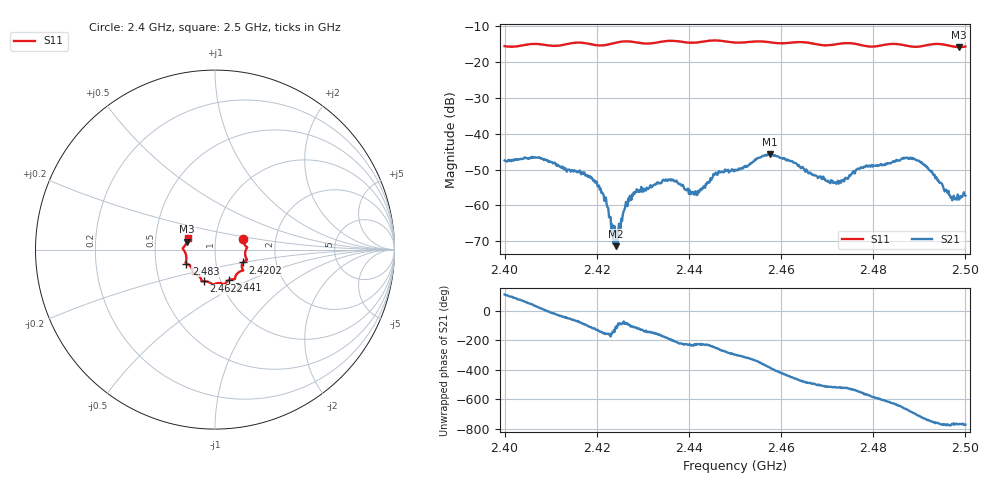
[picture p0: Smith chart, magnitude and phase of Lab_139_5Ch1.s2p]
# Hz S RI R 50
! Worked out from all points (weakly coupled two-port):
!   601 points, 2.4 GHz to 2.5 GHz, reference 50 ohm
!   highest |S21| = -45.69 dB at 2.4575 GHz (marker M1); lowest = -71.4 dB at 2.4242 GHz (marker M2)
!   lowest |S11| = -15.8 dB at 2.4987 GHz (marker M3), VSWR 1.39, Z = 36.4 + j3.28 ohm
!   |S11| at or under -10 dB: start of sweep to end of sweep
!   S12 and S22 are empty: the file has one direction only
!   S11 on the Smith chart (normalised r, x): 2.4 GHz: 1.36, +0.17; 2.4202 GHz: 1.35, -0.20; 2.441 GHz: 1.10, -0.39; 2.4622 GHz: 0.83, -0.30; 2.483 GHz: 0.72, -0.12; 2.5 GHz: 0.73, +0.09
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2.4e9  0.1564 0.06  -0.00133 0.00403  0 0  0 0
2.407167e9  0.1792 0.0115  0.00425 0.00194  0 0  0 0
2.416667e9  0.1777 -0.0584  0.000294 -0.00271  0 0  0 0
2.420167e9  0.156 -0.0719  -0.00122 -0.00139  0 0  0 0
2.422e9  0.1492 -0.089  -0.00118 -0.000476  0 0  0 0
2.424167e9  0.1531 -0.1082  -8.31e-05 -0.000256  0 0  0 0
2.427333e9  0.1546 -0.117  -0.000444 -0.00128  0 0  0 0
2.433333e9  0.1128 -0.1523  -0.00194 -0.000551  0 0  0 0
2.436833e9  0.1089 -0.1654  -0.00193 0.000986  0 0  0 0
2.441e9  0.077 -0.1706  -0.000757 0.00126  0 0  0 0
2.445833e9  0.052 -0.1942  -0.000737 0.00276  0 0  0 0
2.45e9  0.0264 -0.1862  0.00153 0.00276  0 0  0 0
2.4575e9  -0.0213 -0.1886  0.00469 -0.00223  0 0  0 0
2.462167e9  -0.0632 -0.1765  -0.000158 -0.00413  0 0  0 0
2.466667e9  -0.0766 -0.1669  -0.00199 -0.00184  0 0  0 0
2.4725e9  -0.1179 -0.1361  -0.0019 -0.00067  0 0  0 0
2.483e9  -0.1592 -0.0781  -0.000932 0.00376  0 0  0 0
2.483333e9  -0.1609 -0.0773  -0.00072 0.00378  0 0  0 0
2.49e9  -0.1637 -0.0221  0.00418 0.000384  0 0  0 0
2.496667e9  -0.168 0.021  0.000703 -0.00118  0 0  0 0
2.498667e9  -0.1559 0.044  0.000787 -0.000913  0 0  0 0
2.5e9  -0.1531 0.0627  0.000809 -0.0011  0 0  0 0
